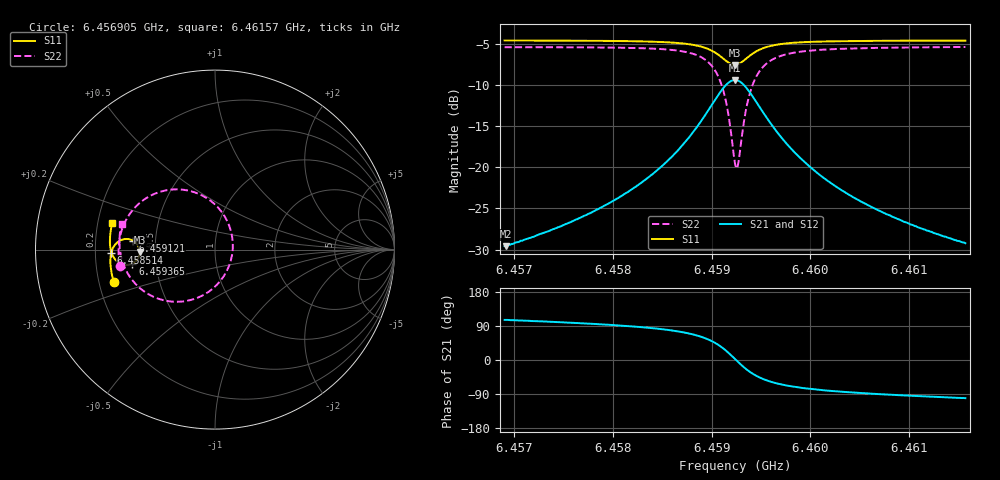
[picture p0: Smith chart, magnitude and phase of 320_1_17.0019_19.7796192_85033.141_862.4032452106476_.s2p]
#  HZ  S  RI  R  50.00
! Rohde & Schwarz Vector Network Analyzer
! Rohde-Schwarz,ZNB20-2Port,1311601062101988,3.16
! Created: UTC 3/20/2024, 11:06:22 PM
! freq[Hz]  re:S11  im:S11  re:S21  im:S21  re:S12  im:S12  re:S22  im:S22
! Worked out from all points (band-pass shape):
!   401 points, 6.456905 GHz to 6.46157 GHz, reference 50 ohm
!   highest |S21| = -9.36 dB at 6.459237 GHz (marker M1); lowest = -29.6 dB at 6.456917 GHz (marker M2)
!   |S21| within 3 dB of the highest: 6.459004 GHz to 6.45947 GHz (466.3 kHz wide, 0.00722 % of centre)
!   lowest |S11| = -7.5 dB at 6.459237 GHz (marker M3), VSWR 2.45, Z = 20.4 - j0.629 ohm
!   |S11| at or under -10 dB: nowhere
!   |S22| runs from -20.1 to -5.3 dB; largest |S21 - S12| = 0.013
!   S11 on the Smith chart (normalised r, x): 6.456905 GHz: 0.26, -0.14; 6.458514 GHz: 0.27, -0.02; 6.459121 GHz: 0.37, +0.05; 6.459365 GHz: 0.37, -0.07; 6.46157 GHz: 0.26, +0.12
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6.4569049e9  -0.5648 -0.1778  -0.00907 0.0319  -0.00731 0.0318  -0.5311 -0.0901
6.4569165e9  -0.565 -0.1769  -0.00905 0.0319  -0.00732 0.032  -0.5314 -0.0889
6.4576862e9  -0.5798 -0.11  -0.00596 0.0495  -0.00336 0.0489  -0.5376 3.44e-05
6.4580827e9  -0.583 -0.0707  -0.000914 0.0667  0.00219 0.0656  -0.5314 0.0608
6.4584675e9  -0.5796 -0.0256  0.0133 0.0973  0.0172 0.0946  -0.5057 0.1443
6.4585142e9  -0.5783 -0.0192  0.0166 0.1027  0.0206 0.0998  -0.4996 0.1574
6.4587241e9  -0.5665 0.0127  0.0422 0.134  0.0464 0.1294  -0.4517 0.2283
6.4588757e9  -0.5455 0.0391  0.0841 0.164  0.0876 0.1577  -0.3746 0.2917
6.4590273e9  -0.4998 0.059  0.1747 0.1832  0.1757 0.1759  -0.2097 0.3358
6.4591206e9  -0.4556 0.0494  0.2636 0.1529  0.2638 0.1468  -0.0462 0.2868
6.4591672e9  -0.4346 0.0308  0.3067 0.1109  0.3079 0.1055  0.0352 0.2122
6.4592372e9  -0.4197 -0.0127  0.3399 0.0155  0.3433 0.0083  0.0991 0.036
6.4592488e9  -0.4201 -0.0208  0.3398 -0.0021  0.3434 -0.00976  0.0989 0.003
6.4592722e9  -0.4236 -0.0362  0.3344 -0.0364  0.338 -0.0454  0.088 -0.0612
6.4593655e9  -0.4606 -0.0781  0.2653 -0.1361  0.2642 -0.1489  -0.0514 -0.2455
6.4594588e9  -0.5036 -0.0847  0.1819 -0.1669  0.1757 -0.1783  -0.2165 -0.2906
6.4596104e9  -0.547 -0.0645  0.0953 -0.1537  0.087 -0.1597  -0.3807 -0.2425
6.4597736e9  -0.5683 -0.0368  0.0511 -0.1263  0.0436 -0.1292  -0.4597 -0.1718
6.4600185e9  -0.581 -0.00129  0.0224 -0.0956  0.0165 -0.0961  -0.5069 -0.0907
6.46038e9  -0.5857 0.0411  0.00602 -0.0685  0.00212 -0.0681  -0.5283 -0.0104
6.4607998e9  -0.5837 0.083  -0.00133 -0.0511  -0.00405 -0.0502  -0.5321 0.0552
6.4615695e9  -0.5715 0.1509  -0.00641 -0.0339  -0.00811 -0.0331  -0.5205 0.145
